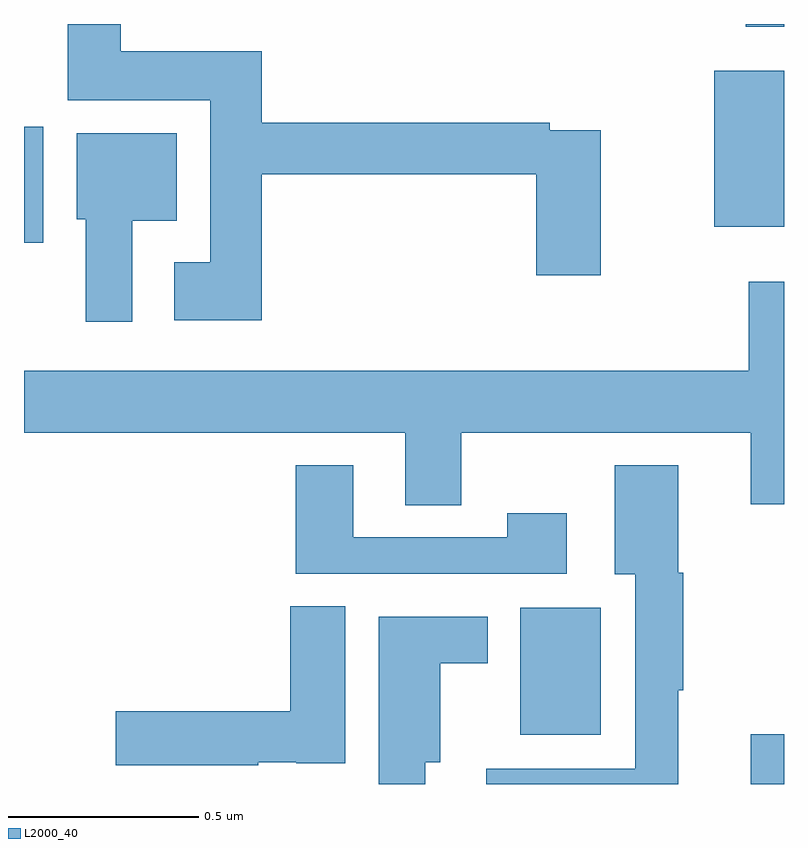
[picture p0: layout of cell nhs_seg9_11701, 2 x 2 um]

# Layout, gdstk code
import gdstk
lib = gdstk.Library(unit=1e-6, precision=1e-09)
def R(c, l, rs):  # rectangles x0, y0, x1, y1
    for r in rs: c.add(gdstk.rectangle(r[:2], r[2:], *l))
def P(c, l, *ps):  # polygons
    for p in ps: c.add(gdstk.Polygon(p, *l))
L2000_40 = (2000, 40)

nhs_seg9_11701 = lib.new_cell('nhs_seg9_11701')
R(nhs_seg9_11701, L2000_40, [(260.912,1191.5,261,1191.631), (260.306,1191.629,260.518,1191.964), (259,1192.925,259.051,1193.23), (260.816,1192.967,261,1193.377), (260.899,1193.493,261,1193.5)])
P(nhs_seg9_11701, L2000_40, [(259.625,1193.104),(260.348,1193.104),(260.348,1192.839),(260.518,1192.839),(260.518,1193.22),(260.384,1193.22),(260.384,1193.24),(259.625,1193.24),(259.625,1193.428),(259.255,1193.428),(259.255,1193.5),(259.115,1193.5),(259.115,1193.3),(259.49,1193.3),(259.49,1192.873),(259.395,1192.873),(259.395,1192.721),(259.625,1192.721)],
  [(259.285,1192.982),(259.402,1192.982),(259.402,1193.212),(259.139,1193.212),(259.139,1192.986),(259.163,1192.986),(259.163,1192.716),(259.285,1192.716)],
  [(260.151,1192.424),(260.912,1192.424),(260.912,1192.236),(261,1192.236),(261,1192.822),(260.907,1192.822),(260.907,1192.588),(259,1192.588),(259,1192.424),(260.003,1192.424),(260.003,1192.234),(260.151,1192.234)],
  [(260.428,1192.213),(260.272,1192.213),(260.272,1192.149),(259.867,1192.149),(259.867,1192.339),(259.715,1192.339),(259.715,1192.053),(260.428,1192.053)],
  [(260.722,1191.747),(260.735,1191.747),(260.735,1192.056),(260.722,1192.056),(260.722,1192.339),(260.555,1192.339),(260.555,1192.052),(260.609,1192.052),(260.609,1191.54),(260.217,1191.54),(260.217,1191.5),(260.722,1191.5)],
  [(259.616,1191.557),(259.716,1191.557),(259.716,1191.554),(259.846,1191.554),(259.846,1191.968),(259.7,1191.968),(259.7,1191.692),(259.242,1191.692),(259.242,1191.55),(259.616,1191.55)],
  [(260.056,1191.557),(260.095,1191.557),(260.095,1191.818),(260.221,1191.818),(260.221,1191.94),(259.934,1191.94),(259.934,1191.5),(260.056,1191.5)])

lib.write_gds('nhs_seg9_11701.gds')
